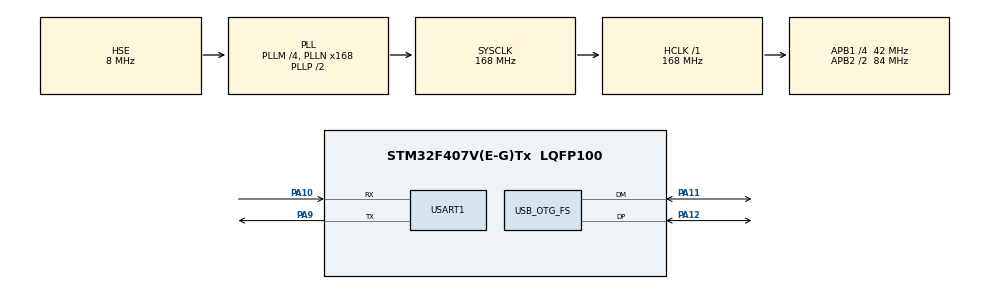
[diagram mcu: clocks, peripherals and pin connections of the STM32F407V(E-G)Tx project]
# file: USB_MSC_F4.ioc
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Mcu.Family=STM32F4
Mcu.Name=STM32F407V(E-G)Tx
Mcu.Package=LQFP100
NVIC.OTG_FS_IRQn=true\:0\:0\:false\:false\:true\:false\:true\:true
NVIC.PriorityGroup=NVIC_PRIORITYGROUP_4
PA10.Mode=Asynchronous
PA10.Signal=USART1_RX
PA11.Mode=Device_Only
PA11.Signal=USB_OTG_FS_DM
PA12.Mode=Device_Only
PA12.Signal=USB_OTG_FS_DP
PA13.Mode=Serial_Wire
PA13.Signal=SYS_JTMS-SWDIO
PA14.Mode=Serial_Wire
PA14.Signal=SYS_JTCK-SWCLK
PA9.Mode=Asynchronous
PA9.Signal=USART1_TX
PH0-OSC_IN.Mode=HSE-External-Oscillator
PH0-OSC_IN.Signal=RCC_OSC_IN
PH1-OSC_OUT.Mode=HSE-External-Oscillator
PH1-OSC_OUT.Signal=RCC_OSC_OUT
ProjectManager.HeapSize=0x200
ProjectManager.StackSize=0x400
ProjectManager.TargetToolchain=MDK-ARM V5.32
RCC.48MHZClocksFreq_Value=48000000
RCC.AHBFreq_Value=168000000
RCC.APB1CLKDivider=RCC_HCLK_DIV4
RCC.APB1Freq_Value=42000000
RCC.APB1TimFreq_Value=84000000
RCC.APB2CLKDivider=RCC_HCLK_DIV2
RCC.APB2Freq_Value=84000000
RCC.APB2TimFreq_Value=168000000
RCC.CortexFreq_Value=168000000
RCC.HCLKFreq_Value=168000000
RCC.HSE_VALUE=8000000
RCC.HSI_VALUE=16000000
RCC.LSE_VALUE=32768
RCC.PLLM=4
RCC.PLLN=168
RCC.PLLQ=7
RCC.SYSCLKFreq_VALUE=168000000
RCC.SYSCLKSource=RCC_SYSCLKSOURCE_PLLCLK
RCC.VCOOutputFreq_Value=336000000
USART1.VirtualMode=VM_ASYNC
USB_DEVICE.CLASS_NAME_FS=MSC
USB_DEVICE.VirtualMode-MSC_FS=Msc
USB_DEVICE.VirtualModeFS=Msc_FS
USB_OTG_FS.VirtualMode=Device_Only
VP_USB_DEVICE_VS_USB_DEVICE_MSC_FS.Mode=MSC_FS
board=custom

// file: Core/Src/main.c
/* USER CODE BEGIN Header */
/**
  ******************************************************************************
  * @file           : main.c
  * @brief          : Main program body
  ******************************************************************************
  * @attention
  *
  * Copyright (c) 2024 STMicroelectronics.
  * All rights reserved.
  *
  * This software is licensed under terms that can be found in the LICENSE file
  * in the root directory of this software component.
  * If no LICENSE file comes with this software, it is provided AS-IS.
  *
  ******************************************************************************
  */
/* USER CODE END Header */
#include "main.h"
#include "usart.h"
#include "usb_device.h"
#include "gpio.h"

/* USER CODE BEGIN Includes */
#include "usbd_core.h"
#include "bootloader.h"
/* USER CODE END Includes */

/* USER CODE BEGIN PV */
uint32_t i;
/* USER CODE END PV */

void SystemClock_Config(void);

/* USER CODE BEGIN 0 */
int  sendchar(int ch)
{
    HAL_UART_Transmit(&huart1,(uint8_t*)&ch,1,HAL_MAX_DELAY);
    return ch;
}
int  getkey()
{
    return 0;
}
void array_printf(uint8_t* data,uint32_t len)
{
    printf("\r\n");
    for(i = 0;i < len;i++){
        printf("0x%02X,",data[i]);
        if((len%8)==7)
        {
            printf("\r\n");
        }
    }
    printf("\r\n");
}
extern USBD_HandleTypeDef hUsbDeviceFS;

void usb_stop(void)
{
    USBD_DeInit(&hUsbDeviceFS);
}
/* USER CODE END 0 */

int main(void)
{

  /* MCU Configuration--------------------------------------------------------*/

  /* Reset of all peripherals, Initializes the Flash interface and the Systick. */
  HAL_Init();

  /* Configure the system clock */
  SystemClock_Config();

  /* Initialize all configured peripherals */
  MX_GPIO_Init();
  MX_USART1_UART_Init();
#if defined(BOOT)
  MX_USB_DEVICE_Init();
  printf("[%s] %d: boot\r\n",__func__,__LINE__);
  bootloader_main();
#endif
  /* USER CODE BEGIN 2 */
  printf("[%s] %d: app\r\n",__func__,__LINE__);
  /* USER CODE END 2 */

  /* Infinite loop */
  /* USER CODE BEGIN WHILE */
  while (1)
  {
      HAL_Delay(1000);
      printf("[%s] %d: app456\r\n",__func__,__LINE__);
    /* USER CODE END WHILE */

  }
}

void SystemClock_Config(void)
{
  RCC_OscInitTypeDef RCC_OscInitStruct = {0};
  RCC_ClkInitTypeDef RCC_ClkInitStruct = {0};

  /** Configure the main internal regulator output voltage
  */
  __HAL_RCC_PWR_CLK_ENABLE();
  __HAL_PWR_VOLTAGESCALING_CONFIG(PWR_REGULATOR_VOLTAGE_SCALE1);

  /** Initializes the RCC Oscillators according to the specified parameters
  * in the RCC_OscInitTypeDef structure.
  */
  RCC_OscInitStruct.OscillatorType = RCC_OSCILLATORTYPE_HSE;
  RCC_OscInitStruct.HSEState = RCC_HSE_ON;
  RCC_OscInitStruct.PLL.PLLState = RCC_PLL_ON;
  RCC_OscInitStruct.PLL.PLLSource = RCC_PLLSOURCE_HSE;
  RCC_OscInitStruct.PLL.PLLM = 4;
  RCC_OscInitStruct.PLL.PLLN = 168;
  RCC_OscInitStruct.PLL.PLLP = RCC_PLLP_DIV2;
  RCC_OscInitStruct.PLL.PLLQ = 7;
  if (HAL_RCC_OscConfig(&RCC_OscInitStruct) != HAL_OK)
  {
    Error_Handler();
  }

  /** Initializes the CPU, AHB and APB buses clocks
  */
  RCC_ClkInitStruct.ClockType = RCC_CLOCKTYPE_HCLK|RCC_CLOCKTYPE_SYSCLK
                              |RCC_CLOCKTYPE_PCLK1|RCC_CLOCKTYPE_PCLK2;
  RCC_ClkInitStruct.SYSCLKSource = RCC_SYSCLKSOURCE_PLLCLK;
  RCC_ClkInitStruct.AHBCLKDivider = RCC_SYSCLK_DIV1;
  RCC_ClkInitStruct.APB1CLKDivider = RCC_HCLK_DIV4;
  RCC_ClkInitStruct.APB2CLKDivider = RCC_HCLK_DIV2;

  if (HAL_RCC_ClockConfig(&RCC_ClkInitStruct, FLASH_LATENCY_5) != HAL_OK)
  {
    Error_Handler();
  }
}

void Error_Handler(void)
{
  __disable_irq();
  while (1)
  {
  }
}
